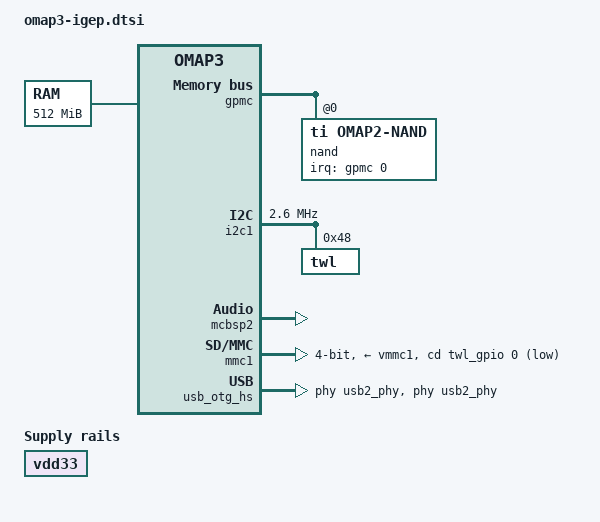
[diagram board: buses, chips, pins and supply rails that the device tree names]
// SPDX-License-Identifier: GPL-2.0-only
/*
 * Common device tree for IGEP boards based on AM/DM37x
 *
 * Copyright (C) 2012 Javier Martinez Canillas <javier@dowhile0.org>
 * Copyright (C) 2012 Enric Balletbo i Serra <eballetbo@gmail.com>
 */
/dts-v1/;

#include "omap36xx.dtsi"

/ {
	memory@80000000 {
		device_type = "memory";
		reg = <0x80000000 0x20000000>; /* 512 MB */
	};

	chosen {
		stdout-path = &uart3;
	};

	sound {
		compatible = "ti,omap-twl4030";
		ti,model = "igep2";
		ti,mcbsp = <&mcbsp2>;
	};

	vdd33: regulator-vdd33 {
		compatible = "regulator-fixed";
		regulator-name = "vdd33";
		regulator-always-on;
	};

};

&omap3_pmx_core {
	gpmc_pins: gpmc-pins {
		pinctrl-single,pins = <
			/* OneNAND seems to require PIN_INPUT on clock. */
                        OMAP3_CORE1_IOPAD(0x20be, PIN_INPUT | MUX_MODE0)        /* gpmc_clk.gpmc_clk */
		>;
	};

	uart1_pins: uart1-pins {
		pinctrl-single,pins = <
			OMAP3_CORE1_IOPAD(0x2182, PIN_INPUT | MUX_MODE0)	/* uart1_rx.uart1_rx */
			OMAP3_CORE1_IOPAD(0x217c, PIN_OUTPUT | MUX_MODE0)	/* uart1_tx.uart1_tx */
		>;
	};

	uart3_pins: uart3-pins {
		pinctrl-single,pins = <
			OMAP3_CORE1_IOPAD(0x219e, PIN_INPUT | MUX_MODE0)	/* uart3_rx.uart3_rx */
			OMAP3_CORE1_IOPAD(0x21a0, PIN_OUTPUT | MUX_MODE0)	/* uart3_tx.uart3_tx */
		>;
	};

	mcbsp2_pins: mcbsp2-pins {
		pinctrl-single,pins = <
			OMAP3_CORE1_IOPAD(0x213c, PIN_INPUT | MUX_MODE0)	/* mcbsp2_fsx.mcbsp2_fsx */
			OMAP3_CORE1_IOPAD(0x213e, PIN_INPUT | MUX_MODE0)	/* mcbsp2_clkx.mcbsp2_clkx */
			OMAP3_CORE1_IOPAD(0x2140, PIN_INPUT | MUX_MODE0)	/* mcbsp2_dr.mcbsp2.dr */
			OMAP3_CORE1_IOPAD(0x2142, PIN_OUTPUT | MUX_MODE0)	/* mcbsp2_dx.mcbsp2_dx */
		>;
	};

	mmc1_pins: mmc1-pins {
		pinctrl-single,pins = <
			OMAP3_CORE1_IOPAD(0x2144, PIN_INPUT_PULLUP | MUX_MODE0)	/* sdmmc1_clk.sdmmc1_clk */
			OMAP3_CORE1_IOPAD(0x2146, PIN_INPUT_PULLUP | MUX_MODE0)	/* sdmmc1_cmd.sdmmc1_cmd */
			OMAP3_CORE1_IOPAD(0x2148, PIN_INPUT_PULLUP | MUX_MODE0) /* sdmmc1_dat0.sdmmc1_dat0 */
			OMAP3_CORE1_IOPAD(0x214a, PIN_INPUT_PULLUP | MUX_MODE0)	/* sdmmc1_dat1.sdmmc1_dat1 */
			OMAP3_CORE1_IOPAD(0x214c, PIN_INPUT_PULLUP | MUX_MODE0)	/* sdmmc1_dat2.sdmmc1_dat2 */
			OMAP3_CORE1_IOPAD(0x214e, PIN_INPUT_PULLUP | MUX_MODE0)	/* sdmmc1_dat3.sdmmc1_dat3 */
		>;
	};

	mmc2_pins: mmc2-pins {
		pinctrl-single,pins = <
			OMAP3_CORE1_IOPAD(0x2158, PIN_INPUT_PULLUP | MUX_MODE0)	/* sdmmc2_clk.sdmmc2_clk */
			OMAP3_CORE1_IOPAD(0x215a, PIN_INPUT_PULLUP | MUX_MODE0)	/* sdmmc2_cmd.sdmmc2_cmd */
			OMAP3_CORE1_IOPAD(0x215c, PIN_INPUT_PULLUP | MUX_MODE0) /* sdmmc2_dat0.sdmmc2_dat0 */
			OMAP3_CORE1_IOPAD(0x215e, PIN_INPUT_PULLUP | MUX_MODE0)	/* sdmmc2_dat1.sdmmc2_dat1 */
			OMAP3_CORE1_IOPAD(0x2160, PIN_INPUT_PULLUP | MUX_MODE0)	/* sdmmc2_dat2.sdmmc2_dat2 */
			OMAP3_CORE1_IOPAD(0x2162, PIN_INPUT_PULLUP | MUX_MODE0)	/* sdmmc2_dat3.sdmmc2_dat3 */
		>;
	};

	i2c1_pins: i2c1-pins {
		pinctrl-single,pins = <
			OMAP3_CORE1_IOPAD(0x21ba, PIN_INPUT | MUX_MODE0)	/* i2c1_scl.i2c1_scl */
			OMAP3_CORE1_IOPAD(0x21bc, PIN_INPUT | MUX_MODE0)	/* i2c1_sda.i2c1_sda */
		>;
	};

	i2c3_pins: i2c3-pins {
		pinctrl-single,pins = <
			OMAP3_CORE1_IOPAD(0x21c2, PIN_INPUT | MUX_MODE0)	/* i2c3_scl.i2c3_scl */
			OMAP3_CORE1_IOPAD(0x21c4, PIN_INPUT | MUX_MODE0)	/* i2c3_sda.i2c3_sda */
		>;
	};
};

&gpmc {
	pinctrl-names = "default";
	pinctrl-0 = <&gpmc_pins>;

	nand@0,0 {
		compatible = "ti,omap2-nand";
		reg = <0 0 4>; /* CS0, offset 0, IO size 4 */
		interrupt-parent = <&gpmc>;
		interrupts = <0 IRQ_TYPE_NONE>, /* fifoevent */
			     <1 IRQ_TYPE_NONE>;	/* termcount */
		nand-bus-width = <16>;
		gpmc,device-width = <2>;
		ti,nand-ecc-opt = "bch8";

		gpmc,sync-clk-ps = <0>;
		gpmc,cs-on-ns = <0>;
		gpmc,cs-rd-off-ns = <44>;
		gpmc,cs-wr-off-ns = <44>;
		gpmc,adv-on-ns = <6>;
		gpmc,adv-rd-off-ns = <34>;
		gpmc,adv-wr-off-ns = <44>;
		gpmc,we-off-ns = <40>;
		gpmc,oe-off-ns = <54>;
		gpmc,access-ns = <64>;
		gpmc,rd-cycle-ns = <82>;
		gpmc,wr-cycle-ns = <82>;
		gpmc,wr-access-ns = <40>;
		gpmc,wr-data-mux-bus-ns = <0>;

		#address-cells = <1>;
		#size-cells = <1>;

		status = "okay";
	};

	onenand@0,0 {
		compatible = "ti,omap2-onenand";
		reg = <0 0 0x20000>;	/* CS0, offset 0, IO size 128K */

		gpmc,sync-read;
		gpmc,sync-write;
		gpmc,burst-length = <16>;
		gpmc,burst-wrap;
		gpmc,burst-read;
		gpmc,burst-write;
		gpmc,device-width = <2>; /* GPMC_DEVWIDTH_16BIT */
		gpmc,mux-add-data = <2>; /* GPMC_MUX_AD */
		gpmc,cs-on-ns = <0>;
		gpmc,cs-rd-off-ns = <96>;
		gpmc,cs-wr-off-ns = <96>;
		gpmc,adv-on-ns = <0>;
		gpmc,adv-rd-off-ns = <12>;
		gpmc,adv-wr-off-ns = <12>;
		gpmc,oe-on-ns = <18>;
		gpmc,oe-off-ns = <96>;
		gpmc,we-on-ns = <0>;
		gpmc,we-off-ns = <96>;
		gpmc,rd-cycle-ns = <114>;
		gpmc,wr-cycle-ns = <114>;
		gpmc,access-ns = <90>;
		gpmc,page-burst-access-ns = <12>;
		gpmc,bus-turnaround-ns = <0>;
		gpmc,cycle2cycle-delay-ns = <0>;
		gpmc,wait-monitoring-ns = <0>;
		gpmc,clk-activation-ns = <6>;
		gpmc,wr-data-mux-bus-ns = <30>;
		gpmc,wr-access-ns = <90>;
		gpmc,sync-clk-ps = <12000>;

		#address-cells = <1>;
		#size-cells = <1>;

		status = "disabled";
	};
};

&i2c1 {
	pinctrl-names = "default";
	pinctrl-0 = <&i2c1_pins>;
	clock-frequency = <2600000>;

	twl: twl@48 {
		reg = <0x48>;
		interrupts = <7>; /* SYS_NIRQ cascaded to intc */
		interrupt-parent = <&intc>;

		twl_audio: audio {
			compatible = "ti,twl4030-audio";
			codec {
			};
		};
	};
};

#include "twl4030.dtsi"
#include "twl4030_omap3.dtsi"

&i2c3 {
	pinctrl-names = "default";
	pinctrl-0 = <&i2c3_pins>;
};

&mcbsp2 {
	pinctrl-names = "default";
	pinctrl-0 = <&mcbsp2_pins>;
	status = "okay";
};

&mmc1 {
	pinctrl-names = "default";
	pinctrl-0 = <&mmc1_pins>;
	vmmc-supply = <&vmmc1>;
	vmmc_aux-supply = <&vsim>;
	bus-width = <4>;
	cd-gpios = <&twl_gpio 0 GPIO_ACTIVE_LOW>;
};

&mmc3 {
	status = "disabled";
};

&uart1 {
	pinctrl-names = "default";
	pinctrl-0 = <&uart1_pins>;
};

&uart3 {
	pinctrl-names = "default";
	pinctrl-0 = <&uart3_pins>;
};

&twl_gpio {
	ti,use-leds;
};

&usb_otg_hs {
	interface-type = <0>;
	usb-phy = <&usb2_phy>;
	phys = <&usb2_phy>;
	phy-names = "usb2-phy";
	mode = <3>;
	power = <50>;
};
